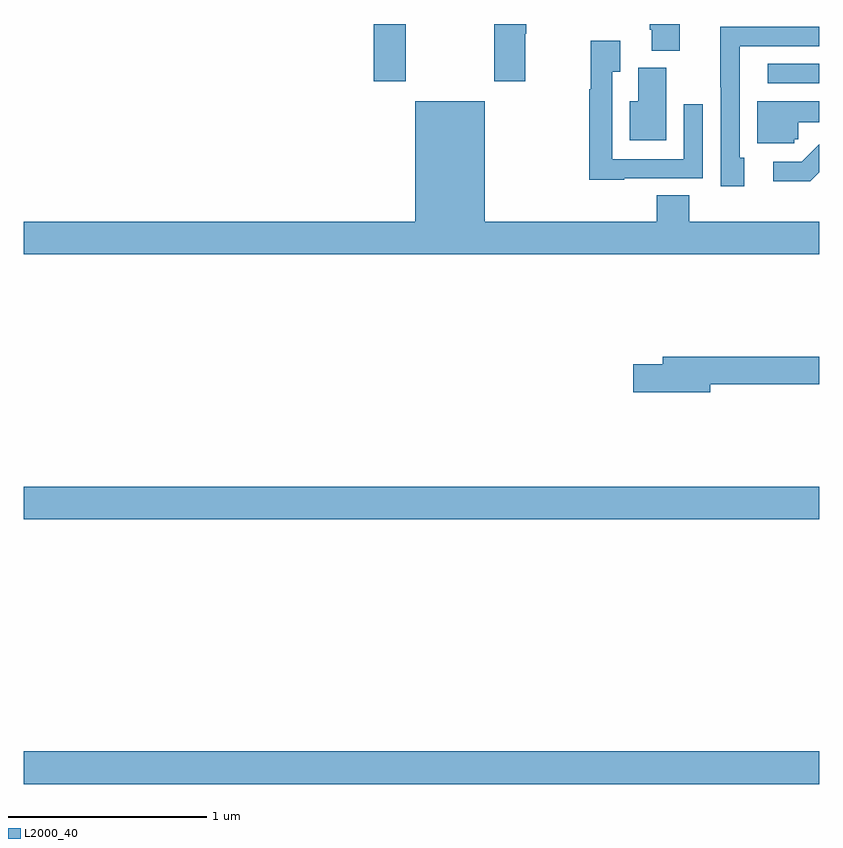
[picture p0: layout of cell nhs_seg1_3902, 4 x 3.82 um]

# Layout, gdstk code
import gdstk
lib = gdstk.Library(unit=1e-6, precision=1e-09)
def R(c, l, rs):  # rectangles x0, y0, x1, y1
    for r in rs: c.add(gdstk.rectangle(r[:2], r[2:], *l))
def P(c, l, *ps):  # polygons
    for p in ps: c.add(gdstk.Polygon(p, *l))
L2000_40 = (2000, 40)

nhs_seg1_3902 = lib.new_cell('nhs_seg1_3902')
R(nhs_seg1_3902, L2000_40, [(323,574.376,327,574.54), (323,575.708,327,575.872), (326.742,577.902,327,577.998), (324.761,577.911,324.921,578.199)])
P(nhs_seg1_3902, L2000_40, [(325.521,578.15),(325.526,578.15),(325.526,578.199),(325.366,578.199),(325.366,577.911),(325.521,577.911)],
  [(326.299,578.199),(326.147,578.199),(326.147,578.17),(326.159,578.17),(326.159,578.065),(326.299,578.065)],
  [(326.623,577.527),(326.601,577.527),(326.601,578.088),(327,578.088),(327,578.184),(326.966,578.184),(326.966,578.186),(326.504,578.186),(326.504,577.882),(326.505,577.882),(326.505,577.383),(326.623,577.383)],
  [(326.019,577.422),(326.415,577.422),(326.415,577.795),(326.319,577.795),(326.319,577.518),(325.959,577.518),(325.959,577.96),(325.999,577.96),(325.999,578.116),(325.851,578.116),(325.851,577.871),(325.843,577.871),(325.843,577.415),(326.019,577.415)],
  [(326.23,577.98),(326.09,577.98),(326.09,577.81),(326.048,577.81),(326.048,577.613),(326.23,577.613)],
  [(327,577.204),(326.348,577.204),(326.348,577.337),(326.183,577.337),(326.183,577.204),(325.318,577.204),(325.318,577.81),(324.968,577.81),(324.968,577.204),(323,577.204),(323,577.04),(327,577.04)],
  [(326.874,577.62),(326.895,577.62),(326.895,577.706),(327,577.706),(327,577.81),(326.69,577.81),(326.69,577.599),(326.874,577.599)],
  [(327,577.453),(327,577.593),(326.913,577.506),(326.769,577.506),(326.769,577.409),(326.956,577.409)],
  [(326.452,576.388),(327,576.388),(327,576.524),(326.213,576.524),(326.213,576.488),(326.064,576.488),(326.064,576.346),(326.452,576.346)])

lib.write_gds('nhs_seg1_3902.gds')
